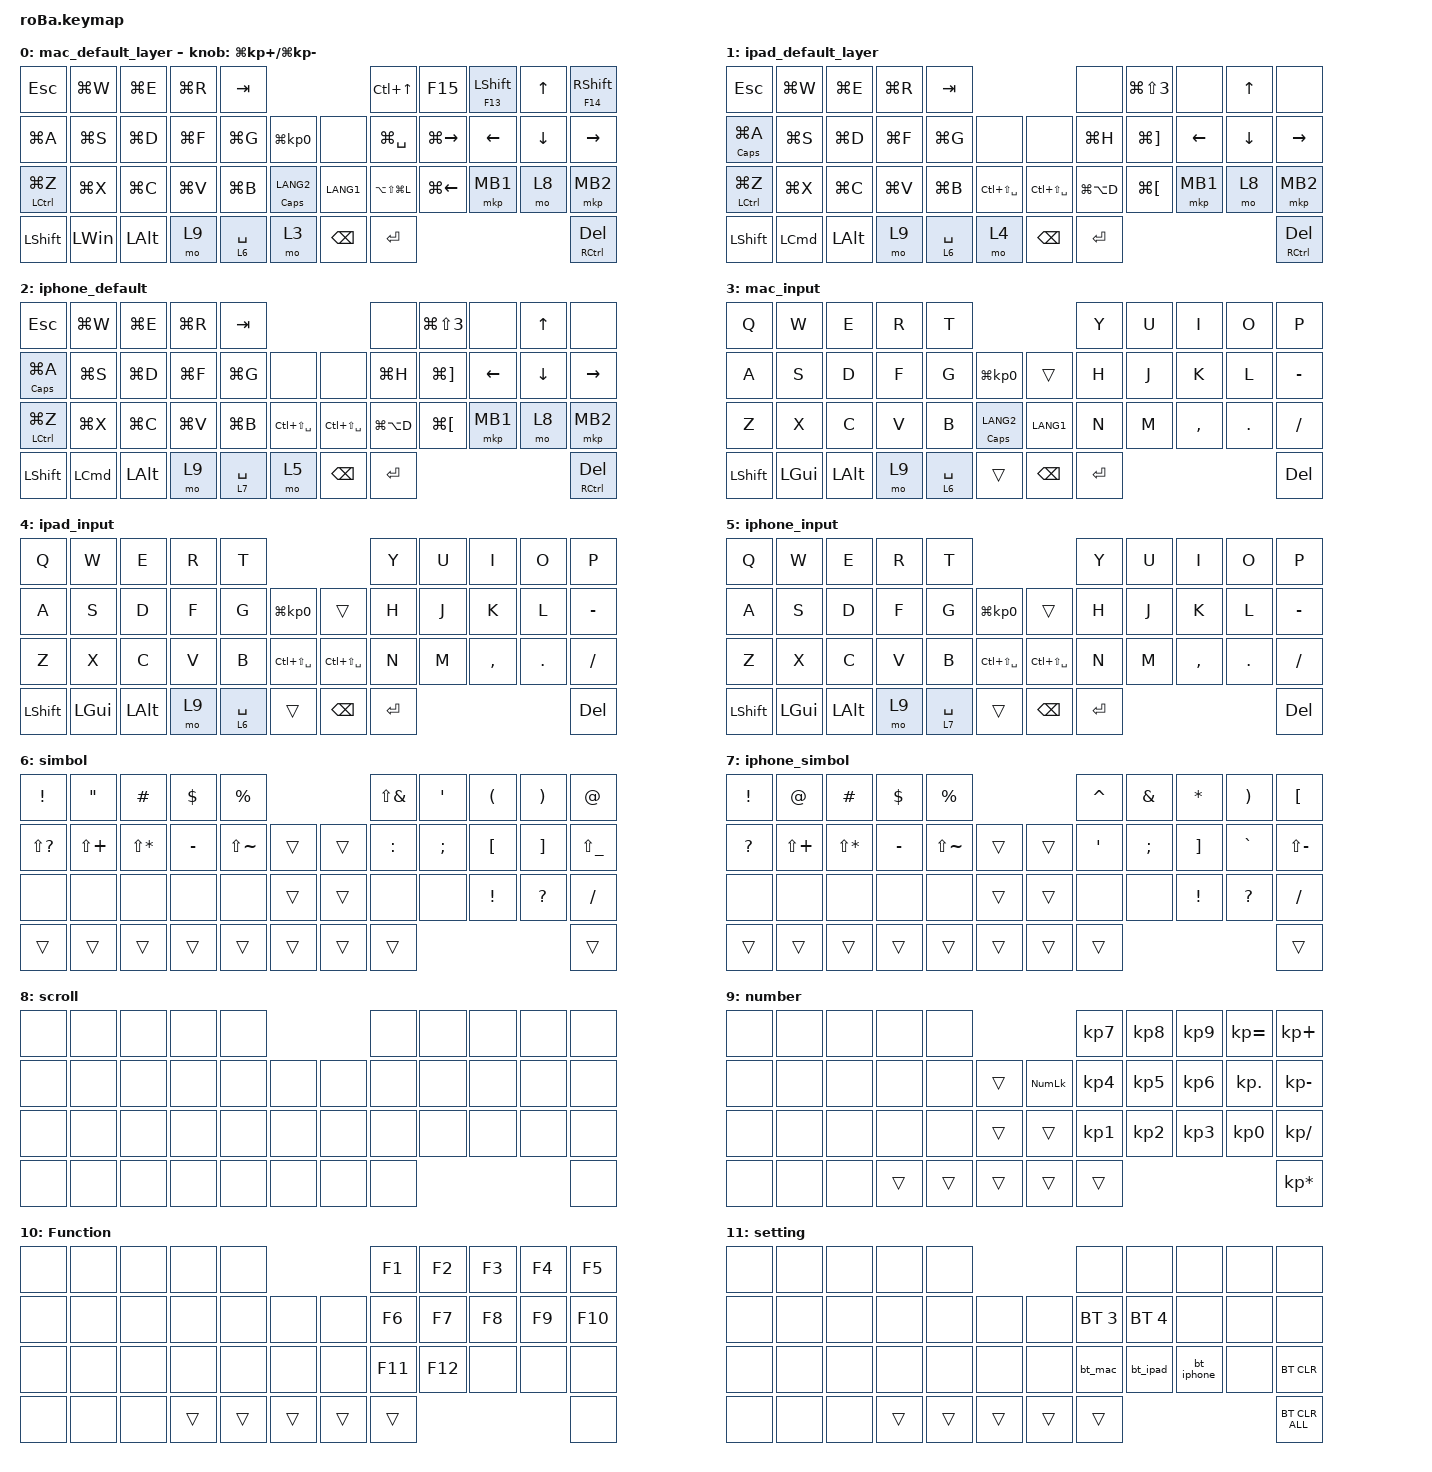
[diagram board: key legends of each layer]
#include <behaviors.dtsi>
#include <dt-bindings/zmk/bt.h>
#include <dt-bindings/zmk/keys.h>
#include <dt-bindings/zmk/pointing.h>

#define MOUSE 4
#define SCROLL 5
#define NUM 6

&mt {
    flavor = "balanced";
    quick-tap-ms = <0>;
};

/ {
    combos {
        compatible = "zmk,combos";

        user {
            bindings = <&username>;
            key-positions = <39 41>;
        };

        function {
            bindings = <&mo 10>;
            key-positions = <37 13>;
        };

        setting {
            bindings = <&mo 11>;
            key-positions = <11 37>;
        };
    };

    macros {
        h2: h2 {
            compatible = "zmk,behavior-macro";
            #binding-cells = <0>;
            bindings = <&kp LANG2 &kp KP_SLASH &kp H &kp KP_NUMBER_2 &kp LANG1>;
            label = "H2";
        };

        h3: h3 {
            compatible = "zmk,behavior-macro";
            #binding-cells = <0>;
            bindings = <&kp LANG2 &kp KP_SLASH &kp H &kp KP_NUMBER_3 &kp LANG1>;
            label = "H3";
        };

        h4: h4 {
            compatible = "zmk,behavior-macro";
            #binding-cells = <0>;
            bindings = <&kp LANG2 &kp KP_SLASH &kp H &kp KP_NUMBER_4 &kp LANG1>;
            label = "H4";
        };

        username: password1 {
            compatible = "zmk,behavior-macro";
            #binding-cells = <0>;
            bindings = <&kp LANG2 &kp A &kp Z &kp U &kp R &kp E &kp KP_N6 &kp KP_N1 &kp KP_N4 &kp LANG1>;
            label = "PASSWORD1";
        };

        to_layer_0: to_layer_0 {
            compatible = "zmk,behavior-macro-one-param";
            #binding-cells = <1>;
            bindings = <&to 0 &macro_param_1to1 &kp MACRO_PLACEHOLDER>;
            label = "TO_LAYER_0";
        };

        bt_mac: bt_mac {
            compatible = "zmk,behavior-macro";
            #binding-cells = <0>;
            bindings =
                <&tog_off 0 &tog_off 1 &tog_off 2 &tog_off 3 &tog_off 4 &tog_off 5 &tog_off 6 &tog_off 7 &tog_off 8 &tog_off 9>,
                <&macro_wait_time 200>,
                <&bt BT_SEL 0>,
                <&macro_wait_time 500>,
                <&tog_on 0>;

            label = "BT_MAC";
        };

        bt_ipad: bt_ipad {
            compatible = "zmk,behavior-macro";
            #binding-cells = <0>;
            bindings =
                <&tog_off 0 &tog_off 1 &tog_off 2 &tog_off 3 &tog_off 4 &tog_off 5 &tog_off 6 &tog_off 7 &tog_off 8 &tog_off 9>,
                <&macro_wait_time 200>,
                <&bt BT_SEL 1>,
                <&macro_wait_time 500>,
                <&tog_on 1>;

            label = "BT_IPAD";
        };

        bt_iphone: bt_iphone {
            compatible = "zmk,behavior-macro";
            #binding-cells = <0>;
            bindings =
                <&tog_off 0 &tog_off 1 &tog_off 2 &tog_off 3 &tog_off 4 &tog_off 5 &tog_off 6 &tog_off 7 &tog_off 8 &tog_off 9>,
                <&macro_wait_time 200>,
                <&bt BT_SEL 2>,
                <&macro_wait_time 500>,
                <&tog_on 2>;

            label = "BT_IPHONE";
        };
    };

    behaviors {
        lt_to_layer_0: lt_to_layer_0 {
            compatible = "zmk,behavior-hold-tap";
            label = "LAYER_TAP_TO_0";
            bindings = <&mo>, <&to_layer_0>;

            #binding-cells = <2>;
            tapping-term-ms = <200>;
        };

        tog_on: toggle_layer_on_only {
            compatible = "zmk,behavior-toggle-layer";
            #binding-cells = <1>;
            display-name = "Toggle Layer On";
            toggle-mode = "on";
        };

        tog_off: toggle_layer_off_only {
            compatible = "zmk,behavior-toggle-layer";
            #binding-cells = <1>;
            display-name = "Toggle Layer Off";
            toggle-mode = "off";
        };
    };

    keymap {
        compatible = "zmk,keymap";

        mac_default_layer {
            bindings = <
&kp ESC          &kp LG(W)     &kp LG(E)     &kp LG(R)  &kp TAB                                              &kp LC(UP_ARROW)   &kp F15        &mt F13 LEFT_SHIFT  &kp UP    &mt F14 RIGHT_SHIFT
&kp LG(A)        &kp LG(S)     &kp LG(D)     &kp LG(F)  &kp LG(G)    &kp LG(KP_NUMBER_0)      &none          &kp LG(SPACE)      &kp LG(RIGHT)  &kp LEFT            &kp DOWN  &kp RIGHT
&mt LCTRL LG(Z)  &kp LG(X)     &kp LG(C)     &kp LG(V)  &kp LG(B)    &mt CAPSLOCK LANG2       &kp LANG1      &kp LA(LS(LG(L)))  &kp LG(LEFT)   &mkp MB1            &mo 8     &mkp MB2
&kp LEFT_SHIFT   &kp LEFT_WIN  &kp LEFT_ALT  &mo 9      &lt 6 SPACE  &mo 3                    &kp BACKSPACE  &kp ENTER                                                       &mt RCTRL DEL
            >;

            sensor-bindings = <&inc_dec_kp LG(KP_PLUS) LG(KP_MINUS)>;
        };

        ipad_default_layer {
            bindings = <
&kp ESC             &kp LG(W)         &kp LG(E)     &kp LG(R)  &kp TAB                                                &none          &kp LG(LS(N3))         &none           &kp UP_ARROW    &none
&mt CAPSLOCK LG(A)  &kp LG(S)         &kp LG(D)     &kp LG(F)  &kp LG(G)    &none                  &none              &kp LG(H)      &kp LG(RIGHT_BRACKET)  &kp LEFT_ARROW  &kp DOWN_ARROW  &kp RIGHT_ARROW
&mt LCTRL LG(Z)     &kp LG(X)         &kp LG(C)     &kp LG(V)  &kp LG(B)    &kp LC(LS(SPACE))      &kp LC(LS(SPACE))  &kp LG(LA(D))  &kp LG(LEFT_BRACKET)   &mkp MB1        &mo 8           &mkp MB2
&kp LEFT_SHIFT      &kp LEFT_COMMAND  &kp LEFT_ALT  &mo 9      &lt 6 SPACE  &mo 4                  &kp BACKSPACE      &kp ENTER                                                             &mt RCTRL DEL
            >;
        };

        iphone_default {
            bindings = <
&kp ESC             &kp LG(W)         &kp LG(E)     &kp LG(R)  &kp TAB                                                &none          &kp LG(LS(N3))         &none           &kp UP_ARROW    &none
&mt CAPSLOCK LG(A)  &kp LG(S)         &kp LG(D)     &kp LG(F)  &kp LG(G)    &none                  &none              &kp LG(H)      &kp LG(RIGHT_BRACKET)  &kp LEFT_ARROW  &kp DOWN_ARROW  &kp RIGHT_ARROW
&mt LCTRL LG(Z)     &kp LG(X)         &kp LG(C)     &kp LG(V)  &kp LG(B)    &kp LC(LS(SPACE))      &kp LC(LS(SPACE))  &kp LG(LA(D))  &kp LG(LEFT_BRACKET)   &mkp MB1        &mo 8           &mkp MB2
&kp LEFT_SHIFT      &kp LEFT_COMMAND  &kp LEFT_ALT  &mo 9      &lt 7 SPACE  &mo 5                  &kp BACKSPACE      &kp ENTER                                                             &mt RCTRL DEL
            >;
        };

        mac_input {
            bindings = <
&kp Q      &kp W     &kp E     &kp R  &kp T                                       &kp Y      &kp U  &kp I      &kp O    &kp P
&kp A      &kp S     &kp D     &kp F  &kp G        &kp LG(KP_N0)       &trans     &kp H      &kp J  &kp K      &kp L    &kp MINUS
&kp Z      &kp X     &kp C     &kp V  &kp B        &mt CAPS LANG2      &kp LANG1  &kp N      &kp M  &kp COMMA  &kp DOT  &kp FSLH
&kp LSHFT  &kp LGUI  &kp LALT  &mo 9  &lt 6 SPACE  &trans              &kp BSPC   &kp ENTER                             &kp DELETE
            >;
        };

        ipad_input {
            bindings = <
&kp Q      &kp W     &kp E     &kp R  &kp T                                                  &kp Y      &kp U  &kp I      &kp O    &kp P
&kp A      &kp S     &kp D     &kp F  &kp G        &kp LG(KP_N0)          &trans             &kp H      &kp J  &kp K      &kp L    &kp MINUS
&kp Z      &kp X     &kp C     &kp V  &kp B        &kp LC(LS(SPACE))      &kp LC(LS(SPACE))  &kp N      &kp M  &kp COMMA  &kp DOT  &kp FSLH
&kp LSHFT  &kp LGUI  &kp LALT  &mo 9  &lt 6 SPACE  &trans                 &kp BSPC           &kp ENTER                             &kp DELETE
            >;
        };

        iphone_input {
            bindings = <
&kp Q      &kp W     &kp E     &kp R  &kp T                                                  &kp Y      &kp U  &kp I      &kp O    &kp P
&kp A      &kp S     &kp D     &kp F  &kp G        &kp LG(KP_N0)          &trans             &kp H      &kp J  &kp K      &kp L    &kp MINUS
&kp Z      &kp X     &kp C     &kp V  &kp B        &kp LC(LS(SPACE))      &kp LC(LS(SPACE))  &kp N      &kp M  &kp COMMA  &kp DOT  &kp FSLH
&kp LSHFT  &kp LGUI  &kp LALT  &mo 9  &lt 7 SPACE  &trans                 &kp BSPC           &kp ENTER                             &kp DELETE
            >;
        };

        simbol {
            bindings = <
&kp EXCLAMATION   &kp DOUBLE_QUOTES  &kp HASH      &kp DOLLAR  &kp PERCENT                        &kp LS(AMPERSAND)  &kp SINGLE_QUOTE  &kp LEFT_PARENTHESIS  &kp RIGHT_PARENTHESIS  &kp AT
&kp LS(QUESTION)  &kp LS(PLUS)       &kp LS(STAR)  &kp MINUS   &kp LS(TILDE)  &trans      &trans  &kp COLON          &kp SEMICOLON     &kp LBKT              &kp RBKT               &kp LS(UNDERSCORE)
&none             &none              &none         &none       &none          &trans      &trans  &none              &none             &kp EXCLAMATION       &kp QUESTION           &kp FSLH
&trans            &trans             &trans        &trans      &trans         &trans      &trans  &trans                                                                            &trans
            >;
        };

        iphone_simbol {
            bindings = <
&kp EXCLAMATION  &kp AT_SIGN   &kp HASH      &kp DOLLAR  &kp PERCENT                        &kp CARET  &kp AMPERSAND  &kp ASTRK          &kp RIGHT_PARENTHESIS  &kp LEFT_BRACKET
&kp QUESTION     &kp LS(PLUS)  &kp LS(STAR)  &kp MINUS   &kp LS(TILDE)  &trans      &trans  &kp SQT    &kp SEMICOLON  &kp RIGHT_BRACKET  &kp GRAVE              &kp LS(MINUS)
&none            &none         &none         &none       &none          &trans      &trans  &none      &none          &kp EXCLAMATION    &kp QUESTION           &kp FSLH
&trans           &trans        &trans        &trans      &trans         &trans      &trans  &trans                                                              &trans
            >;
        };

        scroll {
            bindings = <
&none  &none  &none  &none  &none                    &none  &none  &none  &none  &none
&none  &none  &none  &none  &none  &none      &none  &none  &none  &none  &none  &none
&none  &none  &none  &none  &none  &none      &none  &none  &none  &none  &none  &none
&none  &none  &none  &none  &none  &none      &none  &none                       &none
            >;
        };

        number {
            bindings = <
&none  &none  &none  &none   &none                               &kp KP_NUMBER_7  &kp KP_NUMBER_8  &kp KP_NUMBER_9  &kp KP_EQUAL     &kp KP_PLUS
&none  &none  &none  &none   &none   &trans      &kp KP_NUMLOCK  &kp KP_NUMBER_4  &kp KP_NUMBER_5  &kp KP_NUMBER_6  &kp KP_DOT       &kp KP_MINUS
&none  &none  &none  &none   &none   &trans      &trans          &kp KP_NUMBER_1  &kp KP_NUMBER_2  &kp KP_NUMBER_3  &kp KP_NUMBER_0  &kp KP_SLASH
&none  &none  &none  &trans  &trans  &trans      &trans          &trans                                                              &kp KP_ASTERISK
            >;
        };

        Function {
            bindings = <
&none  &none  &none  &none   &none                       &kp F1   &kp F2   &kp F3  &kp F4  &kp F5
&none  &none  &none  &none   &none   &none       &none   &kp F6   &kp F7   &kp F8  &kp F9  &kp F10
&none  &none  &none  &none   &none   &none       &none   &kp F11  &kp F12  &none   &none   &none
&none  &none  &none  &trans  &trans  &trans      &trans  &trans                            &none
            >;
        };

        setting {
            bindings = <
&none  &none  &none  &none   &none                       &none         &none         &none       &none  &none
&none  &none  &none  &none   &none   &none       &none   &bt BT_SEL 3  &bt BT_SEL 4  &none       &none  &none
&none  &none  &none  &none   &none   &none       &none   &bt_mac       &bt_ipad      &bt_iphone  &none  &bt BT_CLR
&none  &none  &none  &trans  &trans  &trans      &trans  &trans                                         &bt BT_CLR_ALL
            >;
        };
    };
};
